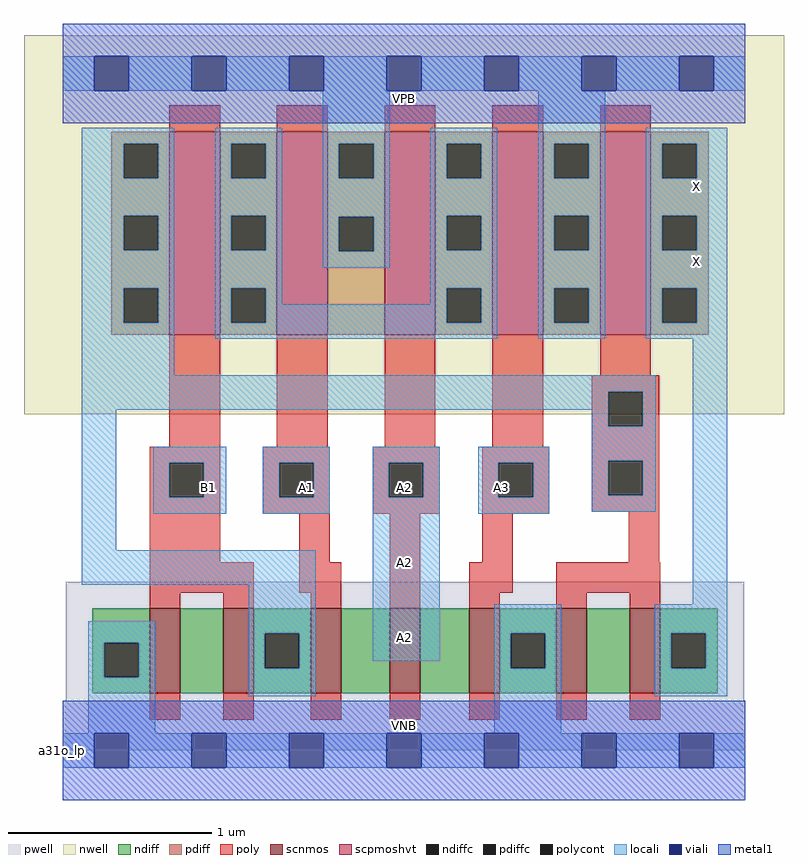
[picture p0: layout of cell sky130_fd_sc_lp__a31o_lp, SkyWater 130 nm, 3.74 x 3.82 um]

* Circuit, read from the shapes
.subckt sky130_fd_sc_lp__a31o_lp A1 A2 A3 B1 VGND VNB VPB VPWR X
XM1 n1 B1 VGND VNB sky130_fd_pr__nfet_01v8 w=0.42 l=0.15
XM2 n2 B1 n1 VNB sky130_fd_pr__nfet_01v8 w=0.42 l=0.15
XM3 n3 A1 n2 VNB sky130_fd_pr__nfet_01v8 w=0.42 l=0.15
XM4 n4 A2 n3 VNB sky130_fd_pr__nfet_01v8 w=0.42 l=0.15
XM5 VGND A3 n4 VNB sky130_fd_pr__nfet_01v8 w=0.42 l=0.15
XM6 n5 n2 VGND VNB sky130_fd_pr__nfet_01v8 w=0.42 l=0.15
XM7 X n2 n5 VNB sky130_fd_pr__nfet_01v8 w=0.42 l=0.15
XM8 n6 B1 n2 VPB sky130_fd_pr__pfet_01v8_hvt w=1 l=0.25
XM9 VPWR A1 n6 VPB sky130_fd_pr__pfet_01v8_hvt w=1 l=0.25
XM10 n6 A2 VPWR VPB sky130_fd_pr__pfet_01v8_hvt w=1 l=0.25
XM11 VPWR A3 n6 VPB sky130_fd_pr__pfet_01v8_hvt w=1 l=0.25
XM12 X n2 VPWR VPB sky130_fd_pr__pfet_01v8_hvt w=1 l=0.25
.ends

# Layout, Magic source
magic
tech sky130A
magscale 1 2
<< nwell >>
rect -38 331 710 704
<< pwell >>
rect 3 49 671 166
rect 0 0 672 49
<< scnmos >>
rect 86 56 116 140
rect 158 56 188 140
rect 244 56 274 140
rect 322 56 352 140
rect 400 56 430 140
rect 486 56 516 140
rect 558 56 588 140
<< scpmoshvt >>
rect 105 409 155 609
rect 211 409 261 609
rect 317 409 367 609
rect 423 409 473 609
rect 529 409 579 609
<< ndiff >>
rect 29 106 86 140
rect 29 72 41 106
rect 75 72 86 106
rect 29 56 86 72
rect 116 56 158 140
rect 188 115 244 140
rect 188 81 199 115
rect 233 81 244 115
rect 188 56 244 81
rect 274 56 322 140
rect 352 56 400 140
rect 430 115 486 140
rect 430 81 441 115
rect 475 81 486 115
rect 430 56 486 81
rect 516 56 558 140
rect 588 115 645 140
rect 588 81 599 115
rect 633 81 645 115
rect 588 56 645 81
<< pdiff >>
rect 48 597 105 609
rect 48 563 60 597
rect 94 563 105 597
rect 48 526 105 563
rect 48 492 60 526
rect 94 492 105 526
rect 48 455 105 492
rect 48 421 60 455
rect 94 421 105 455
rect 48 409 105 421
rect 155 597 211 609
rect 155 563 166 597
rect 200 563 211 597
rect 155 526 211 563
rect 155 492 166 526
rect 200 492 211 526
rect 155 455 211 492
rect 155 421 166 455
rect 200 421 211 455
rect 155 409 211 421
rect 261 597 317 609
rect 261 563 272 597
rect 306 563 317 597
rect 261 525 317 563
rect 261 491 272 525
rect 306 491 317 525
rect 261 409 317 491
rect 367 597 423 609
rect 367 563 378 597
rect 412 563 423 597
rect 367 526 423 563
rect 367 492 378 526
rect 412 492 423 526
rect 367 455 423 492
rect 367 421 378 455
rect 412 421 423 455
rect 367 409 423 421
rect 473 597 529 609
rect 473 563 484 597
rect 518 563 529 597
rect 473 526 529 563
rect 473 492 484 526
rect 518 492 529 526
rect 473 455 529 492
rect 473 421 484 455
rect 518 421 529 455
rect 473 409 529 421
rect 579 597 636 609
rect 579 563 590 597
rect 624 563 636 597
rect 579 526 636 563
rect 579 492 590 526
rect 624 492 636 526
rect 579 455 636 492
rect 579 421 590 455
rect 624 421 636 455
rect 579 409 636 421
<< ndiffc >>
rect 41 72 75 106
rect 199 81 233 115
rect 441 81 475 115
rect 599 81 633 115
<< pdiffc >>
rect 60 563 94 597
rect 60 492 94 526
rect 60 421 94 455
rect 166 563 200 597
rect 166 492 200 526
rect 166 421 200 455
rect 272 563 306 597
rect 272 491 306 525
rect 378 563 412 597
rect 378 492 412 526
rect 378 421 412 455
rect 484 563 518 597
rect 484 492 518 526
rect 484 421 518 455
rect 590 563 624 597
rect 590 492 624 526
rect 590 421 624 455
<< poly >>
rect 105 609 155 635
rect 211 609 261 635
rect 317 609 367 635
rect 423 609 473 635
rect 529 609 579 635
rect 105 299 155 409
rect 211 299 261 409
rect 317 299 367 409
rect 423 299 473 409
rect 529 369 579 409
rect 521 353 587 369
rect 521 319 537 353
rect 571 319 587 353
rect 86 283 155 299
rect 86 249 105 283
rect 139 249 155 283
rect 86 185 155 249
rect 197 283 263 299
rect 197 249 213 283
rect 247 249 263 283
rect 197 233 263 249
rect 305 283 371 299
rect 305 249 321 283
rect 355 249 371 283
rect 305 233 371 249
rect 413 283 479 299
rect 413 249 429 283
rect 463 249 479 283
rect 413 233 479 249
rect 521 285 587 319
rect 521 251 537 285
rect 571 251 587 285
rect 521 235 587 251
rect 233 185 263 233
rect 86 155 188 185
rect 233 155 274 185
rect 86 140 116 155
rect 158 140 188 155
rect 244 140 274 155
rect 322 140 352 233
rect 413 185 443 233
rect 557 185 587 235
rect 400 155 443 185
rect 486 155 588 185
rect 400 140 430 155
rect 486 140 516 155
rect 558 140 588 155
rect 86 30 116 56
rect 158 30 188 56
rect 244 30 274 56
rect 322 30 352 56
rect 400 30 430 56
rect 486 30 516 56
rect 558 30 588 56
<< polycont >>
rect 537 319 571 353
rect 105 249 139 283
rect 213 249 247 283
rect 321 249 355 283
rect 429 249 463 283
rect 537 251 571 285
<< locali >>
rect 0 649 31 683
rect 65 649 127 683
rect 161 649 223 683
rect 257 649 319 683
rect 353 649 415 683
rect 449 649 511 683
rect 545 649 607 683
rect 641 649 672 683
rect 19 597 110 613
rect 19 563 60 597
rect 94 563 110 597
rect 19 526 110 563
rect 19 492 60 526
rect 94 492 110 526
rect 19 455 110 492
rect 19 421 60 455
rect 94 421 110 455
rect 19 369 110 421
rect 150 597 216 613
rect 150 563 166 597
rect 200 563 216 597
rect 150 526 216 563
rect 150 492 166 526
rect 200 492 216 526
rect 150 455 216 492
rect 256 597 322 649
rect 256 563 272 597
rect 306 563 322 597
rect 256 525 322 563
rect 256 491 272 525
rect 306 491 322 525
rect 256 475 322 491
rect 362 597 428 613
rect 362 563 378 597
rect 412 563 428 597
rect 362 526 428 563
rect 362 492 378 526
rect 412 492 428 526
rect 150 421 166 455
rect 200 439 216 455
rect 362 455 428 492
rect 362 439 378 455
rect 200 421 378 439
rect 412 421 428 455
rect 150 405 428 421
rect 468 597 534 649
rect 468 563 484 597
rect 518 563 534 597
rect 468 526 534 563
rect 468 492 484 526
rect 518 492 534 526
rect 468 455 534 492
rect 468 421 484 455
rect 518 421 534 455
rect 468 405 534 421
rect 574 597 654 613
rect 574 563 590 597
rect 624 563 654 597
rect 574 526 654 563
rect 574 492 590 526
rect 624 492 654 526
rect 574 455 654 492
rect 574 421 590 455
rect 624 421 654 455
rect 574 405 654 421
rect 19 353 584 369
rect 19 335 537 353
rect 19 197 53 335
rect 521 319 537 335
rect 571 319 584 353
rect 89 283 161 299
rect 89 249 105 283
rect 139 249 161 283
rect 89 233 161 249
rect 197 283 263 299
rect 197 249 213 283
rect 247 249 263 283
rect 197 233 263 249
rect 305 283 371 299
rect 305 249 321 283
rect 355 249 371 283
rect 19 163 249 197
rect 25 106 91 127
rect 25 72 41 106
rect 75 72 91 106
rect 25 17 91 72
rect 183 115 249 163
rect 183 81 199 115
rect 233 81 249 115
rect 305 88 371 249
rect 409 283 479 299
rect 409 249 429 283
rect 463 249 479 283
rect 409 233 479 249
rect 521 285 584 319
rect 521 251 537 285
rect 571 251 584 285
rect 521 235 584 251
rect 620 144 654 405
rect 425 115 491 144
rect 183 53 249 81
rect 425 81 441 115
rect 475 81 491 115
rect 425 17 491 81
rect 583 115 654 144
rect 583 81 599 115
rect 633 81 654 115
rect 583 53 654 81
rect 0 -17 31 17
rect 65 -17 127 17
rect 161 -17 223 17
rect 257 -17 319 17
rect 353 -17 415 17
rect 449 -17 511 17
rect 545 -17 607 17
rect 641 -17 672 17
<< viali >>
rect 31 649 65 683
rect 127 649 161 683
rect 223 649 257 683
rect 319 649 353 683
rect 415 649 449 683
rect 511 649 545 683
rect 607 649 641 683
rect 31 -17 65 17
rect 127 -17 161 17
rect 223 -17 257 17
rect 319 -17 353 17
rect 415 -17 449 17
rect 511 -17 545 17
rect 607 -17 641 17
<< metal1 >>
rect 0 683 672 715
rect 0 649 31 683
rect 65 649 127 683
rect 161 649 223 683
rect 257 649 319 683
rect 353 649 415 683
rect 449 649 511 683
rect 545 649 607 683
rect 641 649 672 683
rect 0 617 672 649
rect 0 17 672 49
rect 0 -17 31 17
rect 65 -17 127 17
rect 161 -17 223 17
rect 257 -17 319 17
rect 353 -17 415 17
rect 449 -17 511 17
rect 545 -17 607 17
rect 641 -17 672 17
rect 0 -49 672 -17
<< labels >>
flabel pwell s 0 0 672 49 0 FreeSans 200 0 0 0 VNB
port 6 nsew ground bidirectional
flabel nwell s 0 617 672 666 0 FreeSans 200 0 0 0 VPB
port 7 nsew power bidirectional
rlabel comment s 0 0 0 0 4 a31o_lp
flabel metal1 s 0 617 672 666 0 FreeSans 340 0 0 0 VPWR
port 8 nsew power bidirectional
flabel metal1 s 0 0 672 49 0 FreeSans 340 0 0 0 VGND
port 5 nsew ground bidirectional
flabel locali s 415 242 449 276 0 FreeSans 340 0 0 0 A3
port 3 nsew signal input
flabel locali s 319 94 353 128 0 FreeSans 340 0 0 0 A2
port 2 nsew signal input
flabel locali s 319 168 353 202 0 FreeSans 340 0 0 0 A2
port 2 nsew signal input
flabel locali s 319 242 353 276 0 FreeSans 340 0 0 0 A2
port 2 nsew signal input
flabel locali s 223 242 257 276 0 FreeSans 340 0 0 0 A1
port 1 nsew signal input
flabel locali s 607 464 641 498 0 FreeSans 340 0 0 0 X
port 9 nsew signal output
flabel locali s 607 538 641 572 0 FreeSans 340 0 0 0 X
port 9 nsew signal output
flabel locali s 127 242 161 276 0 FreeSans 340 0 0 0 B1
port 4 nsew signal input
<< properties >>
string LEFsite unit
string LEFclass CORE
string FIXED_BBOX 0 0 672 666
string GDS_FILE $PDKPATH/libs.ref/sky130_fd_sc_lp/gds/sky130_fd_sc_lp.gds
string LEFsymmetry X Y R90
string GDS_END 2765118
string GDS_START 2758480
<< end >>
